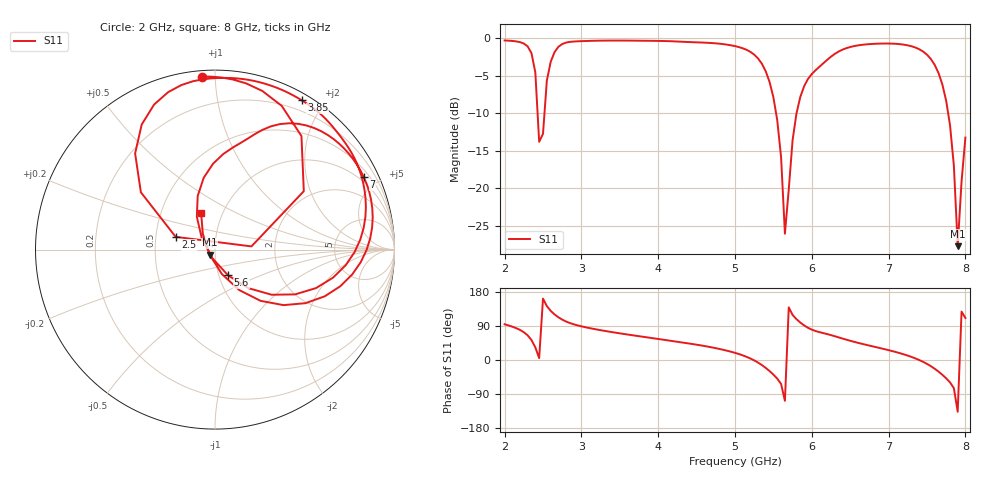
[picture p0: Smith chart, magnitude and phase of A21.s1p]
! Generated by Hertzon (EMerge FEM)
# HZ S RI R 50
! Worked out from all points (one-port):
!   121 points, 2 GHz to 8 GHz, reference 50 ohm
!   lowest |S11| = -27.7 dB at 7.9 GHz (marker M1), VSWR 1.09, Z = 47 - j2.65 ohm
!   |S11| at or under -10 dB: 2.429 GHz to 2.519 GHz (89.94 MHz wide, 3.63 % of centre); 5.535 GHz to 5.801 GHz (266.4 MHz wide, 4.7 % of centre); 7.775 GHz to end of sweep
!   S11 on the Smith chart (normalised r, x): 2 GHz: 0.03, +0.93; 2.5 GHz: 0.63, +0.10; 3.85 GHz: 0.08, +1.73; 5.6 GHz: 1.11, -0.33; 7 GHz: 0.78, +4.20; 8 GHz: 0.79, +0.34
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2e9  -0.072 0.9642
2.25e9  0.264 0.8838
2.35e9  0.4816 0.6328
2.4e9  0.4948 0.3255
2.45e9  0.203 0.0178
2.5e9  -0.2192 0.071
2.55e9  -0.413 0.3193
2.6e9  -0.4451 0.5357
2.75e9  -0.2609 0.8773
3.5e9  0.3246 0.9091
3.85e9  0.4825 0.8324
4.25e9  0.636 0.7073
5e9  0.8385 0.2867
5.25e9  0.7776 -0.0142
5.4e9  0.5628 -0.2144
5.5e9  0.3156 -0.2515
5.6e9  0.0728 -0.1436
5.65e9  -0.0152 -0.0473
5.75e9  -0.1013 0.1831
5.95e9  0.0463 0.5327
6.5e9  0.5528 0.6773
7e9  0.8289 0.4041
7.25e9  0.8787 0.1791
7.5e9  0.7643 -0.1386
7.7e9  0.3818 -0.3094
7.85e9  0.0382 -0.136
7.9e9  -0.0298 -0.0282
8e9  -0.0774 0.2032
